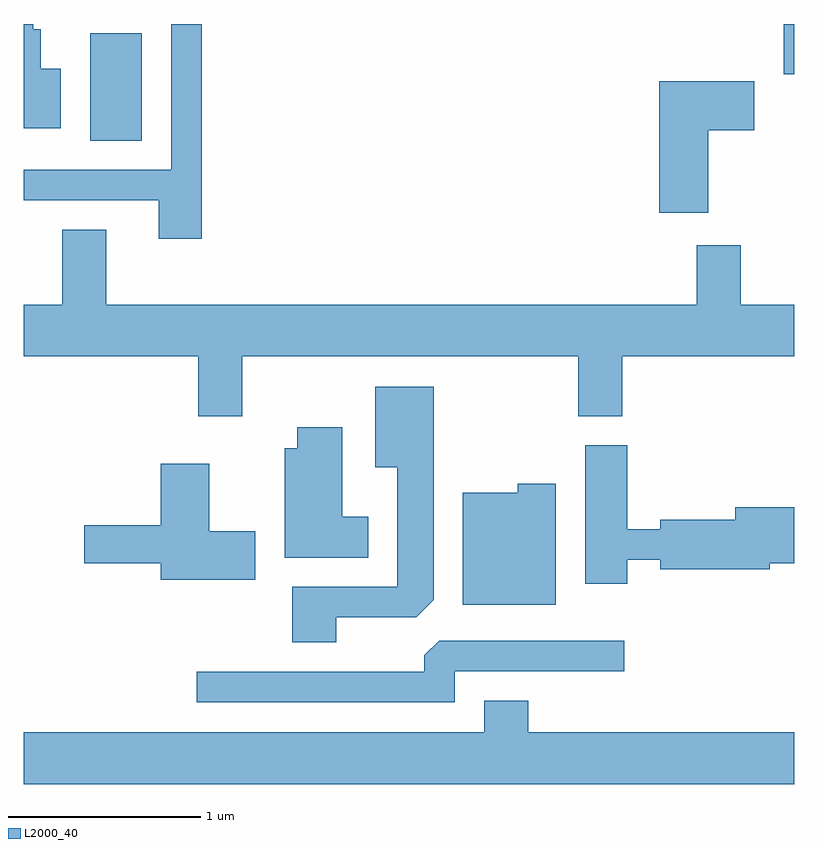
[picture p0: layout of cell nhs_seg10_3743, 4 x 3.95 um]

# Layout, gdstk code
import gdstk
lib = gdstk.Library(unit=1e-6, precision=1e-09)
def R(c, l, rs):  # rectangles x0, y0, x1, y1
    for r in rs: c.add(gdstk.rectangle(r[:2], r[2:], *l))
def P(c, l, *ps):  # polygons
    for p in ps: c.add(gdstk.Polygon(p, *l))
L2000_40 = (2000, 40)

nhs_seg10_3743 = lib.new_cell('nhs_seg10_3743')
R(nhs_seg10_3743, L2000_40, [(295.956,2123.916,296.224,2124.474), (299.556,2124.261,299.611,2124.522)])
P(nhs_seg10_3743, L2000_40, [(296.534,2124.522),(296.376,2124.522),(296.376,2123.764),(295.611,2123.764),(295.611,2123.606),(296.311,2123.606),(296.311,2123.406),(296.534,2123.406)],
  [(295.804,2124.289),(295.699,2124.289),(295.699,2124.494),(295.659,2124.494),(295.659,2124.522),(295.611,2124.522),(295.611,2123.981),(295.804,2123.981)],
  [(299.164,2123.971),(299.404,2123.971),(299.404,2124.224),(298.911,2124.224),(298.911,2123.541),(299.164,2123.541)],
  [(296.744,2122.796),(298.491,2122.796),(298.491,2122.486),(298.719,2122.486),(298.719,2122.796),(299.611,2122.796),(299.611,2123.064),(299.334,2123.064),(299.334,2123.374),(299.106,2123.374),(299.106,2123.064),(296.039,2123.064),(296.039,2123.454),(295.811,2123.454),(295.811,2123.064),(295.611,2123.064),(295.611,2122.796),(296.516,2122.796),(296.516,2122.486),(296.744,2122.486)],
  [(297.234,2121.441),(297.649,2121.441),(297.739,2121.532),(297.739,2122.639),(297.436,2122.639),(297.436,2122.221),(297.551,2122.221),(297.551,2121.599),(297.006,2121.599),(297.006,2121.311),(297.234,2121.311)],
  [(297.399,2121.964),(297.264,2121.964),(297.264,2122.429),(297.031,2122.429),(297.031,2122.319),(296.966,2122.319),(296.966,2121.751),(297.399,2121.751)],
  [(298.744,2121.741),(298.916,2121.741),(298.916,2121.691),(299.484,2121.691),(299.484,2121.721),(299.611,2121.721),(299.611,2122.014),(299.306,2122.014),(299.306,2121.949),(298.916,2121.949),(298.916,2121.899),(298.744,2121.899),(298.744,2122.334),(298.526,2122.334),(298.526,2121.616),(298.744,2121.616)],
  [(296.814,2121.889),(296.574,2121.889),(296.574,2122.239),(296.321,2122.239),(296.321,2121.919),(295.926,2121.919),(295.926,2121.721),(296.321,2121.721),(296.321,2121.636),(296.814,2121.636)],
  [(298.374,2122.134),(298.176,2122.134),(298.176,2122.089),(297.891,2122.089),(297.891,2121.506),(298.374,2121.506)],
  [(297.849,2121.161),(298.728,2121.161),(298.728,2121.319),(297.767,2121.319),(297.691,2121.244),(297.691,2121.159),(296.508,2121.159),(296.508,2121.001),(297.849,2121.001)],
  [(299.611,2120.844),(298.229,2120.844),(298.229,2121.009),(298.001,2121.009),(298.001,2120.844),(295.611,2120.844),(295.611,2120.576),(299.611,2120.576)])

lib.write_gds('nhs_seg10_3743.gds')
